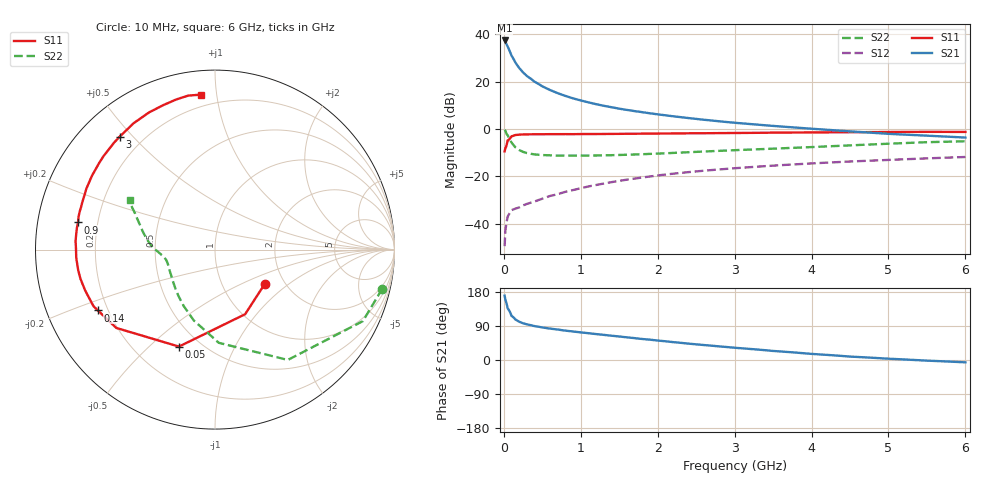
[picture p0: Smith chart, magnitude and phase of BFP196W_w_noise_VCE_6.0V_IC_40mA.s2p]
! (c) 2017  Infineon Technologies AG, Munich
! Infineon Technologies  Discrete & RF Semiconductors
! BFP196W
! VCE =  6.0 V,  IC =  40 mA
! Common Emitter S-Parameters:  Jan 2017
# GHz  S  MA  R  50
!  f  S11  S21  S12  S22
! GHz  MAG  ANG  MAG  ANG  MAG  ANG  MAG  ANG
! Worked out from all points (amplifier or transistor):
!   77 points, 10 MHz to 6 GHz, reference 50 ohm
!   highest |S21| = 37.3 dB at 10 MHz (marker M1)
!   |S21| within 3 dB of that: start of sweep to 55.91 MHz
!   unconditionally stable (mu >= 1): 746.2 MHz to 3.252 GHz
!   at 130 MHz: K = 0.37, MSG = 31.5 dB, |S12| = -33.8 dB
!   at 2.2 GHz: K = 1.04, MAG = 10.9 dB, |S12| = -18.8 dB
!   at 6 GHz: K = 0.93, MSG = 4.1 dB, |S12| = -11.8 dB
!   lowest NFmin = 1.24 dB at 450 MHz
!   S11 on the Smith chart (normalised r, x): 10 MHz: 1.58, -0.69; 50 MHz: 0.39, -0.62; 140 MHz: 0.16, -0.24; 900 MHz: 0.13, +0.10; 3 GHz: 0.12, +0.46; 6 GHz: 0.13, +0.90
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0.01  0.3369 -35.0  73.23 169.9  0.0034 83.6  0.9572 -13.2
0.02  0.3972 -65.0  69.77 159.3  0.0073 75.7  0.9153 -25.8
0.05  0.5764 -110.4  54.37 136.3  0.0143 53.3  0.7365 -56.6
0.1  0.7023 -141.6  35.13 116.4  0.0195 42.8  0.5196 -87.7
0.14  0.7348 -152.5  27.01 109.4  0.0207 41.1  0.4291 -102.2
0.15  0.7468 -155.0  25.07 106.9  0.021 40.7  0.4119 -106.7
0.2  0.7583 -162.5  19.24 101.0  0.0223 40.5  0.36 -118.9
0.25  0.7671 -167.8  15.57 96.9  0.0246 41.7  0.329 -128.2
0.3  0.7707 -171.4  13.04 94.0  0.0264 45.0  0.311 -134.9
0.4  0.7745 -176.6  9.889 89.4  0.0297 47.3  0.2915 -144.3
0.5  0.7746 179.5  7.922 85.9  0.034 52.0  0.2823 -150.4
0.6  0.7783 176.4  6.626 82.9  0.0388 53.9  0.2787 -154.9
0.7  0.778 173.8  5.675 80.4  0.0423 56.2  0.2753 -158.1
0.9  0.7779 168.8  4.414 75.2  0.0517 58.5  0.2747 -162.4
1.1  0.783 164.4  3.634 70.7  0.0616 59.8  0.2757 -165.4
1.5  0.7891 156.6  2.679 62.0  0.0809 59.9  0.2836 -170.3
2.1  0.8029 145.1  1.942 49.4  0.1097 56.8  0.3079 -176.1
3  0.8233 130.2  1.352 32.3  0.149 49.9  0.3577 176.0
3.1  0.825 128.7  1.312 30.8  0.1529 49.0  0.3629 175.0
4.1  0.8487 114.5  0.987 14.8  0.1918 41.0  0.4226 164.6
5.1  0.8646 103.7  0.776 2.5  0.2264 33.2  0.4968 154.9
6  0.8671 95.2  0.66 -6.2  0.2572 26.3  0.5506 149.7
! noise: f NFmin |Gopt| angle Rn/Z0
0.45  1.24  0.48  -179  0.06
0.9  1.39  0.54  -173  0.06
1.9  2.21  0.69  -150  0.14
2.4  2.61  0.73  -145  0.23
